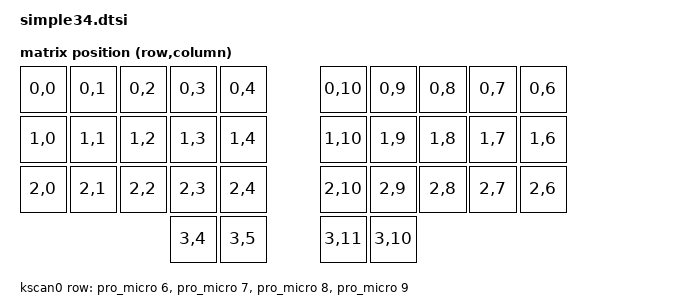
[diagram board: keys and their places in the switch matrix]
#include <dt-bindings/zmk/matrix_transform.h>
#include <zephyr/dt-bindings/input/input-event-codes.h>
#include "simple34-layouts.dtsi"

/ {
    soft_off_wakers {
        compatible = "zmk,soft-off-wakeup-sources";
        wakeup-sources = <&wakeup_source>;
    };

    wakeup_source: wakeup_source {
        compatible = "zmk,gpio-key-wakeup-trigger";
        trigger = <&soft_off_key>;
        wakeup-code = <INPUT_KEY_WAKEUP>;
        extra-gpios = <&pro_micro 3 GPIO_ACTIVE_LOW>;
    };

    soft_off_key: soft_off_key {
        compatible = "zmk,gpio-key";
        gpios = <&pro_micro 3 (GPIO_ACTIVE_LOW | GPIO_PULL_UP)>;
    };

    soft_off_behavior {
        compatible = "zmk,behavior-soft-off";
        #binding-cells = <0>;
        hold-time-ms = <2000>;
    };

    kscan0: kscan0 {
        compatible = "zmk,kscan-gpio-matrix";
        diode-direction = "col2row";

        row-gpios
            = <&pro_micro 6 (GPIO_ACTIVE_HIGH | GPIO_PULL_DOWN)>
            , <&pro_micro 7 (GPIO_ACTIVE_HIGH | GPIO_PULL_DOWN)>
            , <&pro_micro 8 (GPIO_ACTIVE_HIGH | GPIO_PULL_DOWN)>
            , <&pro_micro 9 (GPIO_ACTIVE_HIGH | GPIO_PULL_DOWN)>
            ;         
    };

    default_transform: keymap_transform0 {
        compatible = "zmk,matrix-transform";
        columns = <12>;
        rows = <4>;
        map = <
            RC(0, 0) RC(0, 1) RC(0, 2) RC(0, 3) RC(0, 4)                       RC(0, 10) RC(0, 9) RC(0, 8) RC(0, 7) RC(0, 6)
            RC(1, 0) RC(1, 1) RC(1, 2) RC(1, 3) RC(1, 4)                       RC(1, 10) RC(1, 9) RC(1, 8) RC(1, 7) RC(1, 6)
            RC(2, 0) RC(2, 1) RC(2, 2) RC(2, 3) RC(2, 4)                       RC(2, 10) RC(2, 9) RC(2, 8) RC(2, 7) RC(2, 6)
                                                RC(3, 4) RC(3, 5)   RC(3, 11) RC(3, 10)
        >;
    };

    chosen {
        zmk,kscan = &kscan0;
        zmk,physical-layout = &physical_layout0;
    };
};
